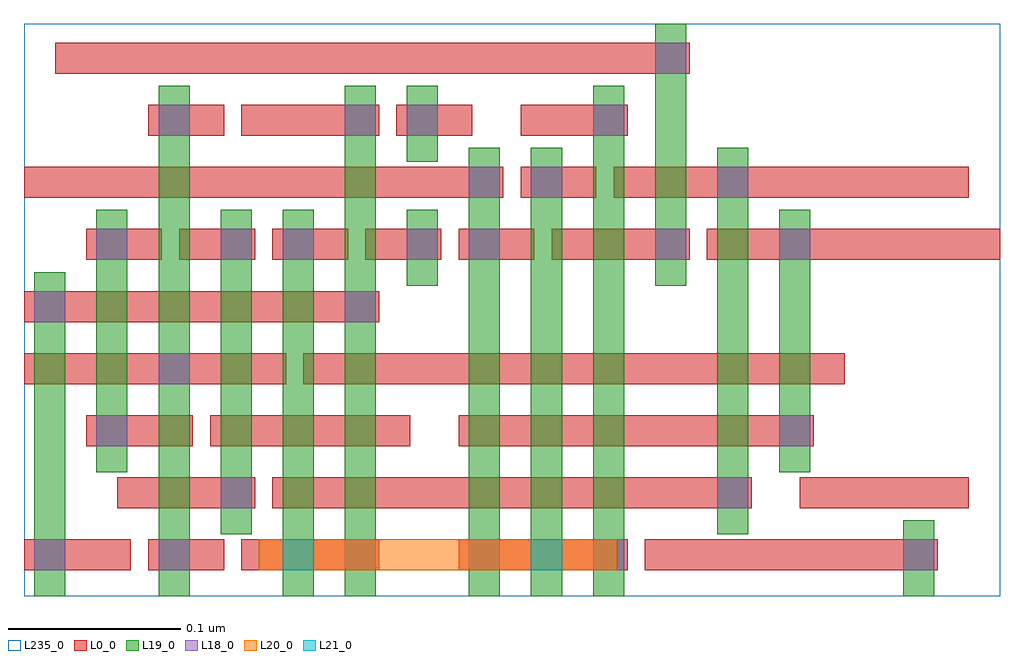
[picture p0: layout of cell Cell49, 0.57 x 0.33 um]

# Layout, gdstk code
import gdstk
lib = gdstk.Library(unit=1e-6, precision=2.5e-10)
def R(c, l, rs):  # rectangles x0, y0, x1, y1
    for r in rs: c.add(gdstk.rectangle(r[:2], r[2:], *l))
def A(c, l, x, y, w, h, nx, ny, dx, dy):  # array of equal rectangles
    R(c, l, [(x+i*dx, y+j*dy, x+i*dx+w, y+j*dy+h) for i in range(nx) for j in range(ny)])
L0_0 = (0, 0)
L18_0 = (18, 0)
L19_0 = (19, 0)
L20_0 = (20, 0)
L21_0 = (21, 0)
L235_0 = (235, 0)

cell49 = lib.new_cell('Cell49')
A(cell49, L0_0, 0.04, 0.179, 0.044, 0.018, 5, 1, 0.054, 0)
R(cell49, L0_0, [(0.004,-0.001,0.066,0.017), (0.076,-0.001,0.12,0.017), (0.13,-0.001,0.21,0.017), (0.256,-0.001,0.354,0.017), (0.364,-0.001,0.534,0.017), (0.058,0.035,0.138,0.053), (0.148,0.035,0.426,0.053), (0.454,0.035,0.552,0.053), (0.04,0.071,0.102,0.089), (0.112,0.071,0.228,0.089), (0.256,0.071,0.462,0.089), (0.004,0.107,0.156,0.125), (0.166,0.107,0.48,0.125), (0.004,0.143,0.21,0.161), (0.31,0.179,0.39,0.197), (0.4,0.179,0.57,0.197), (0.004,0.215,0.282,0.233), (0.292,0.215,0.336,0.233), (0.346,0.215,0.552,0.233), (0.076,0.251,0.12,0.269), (0.13,0.251,0.21,0.269), (0.22,0.251,0.264,0.269), (0.292,0.251,0.354,0.269), (0.022,0.287,0.39,0.305)])
A(cell49, L18_0, 0.19, -0.001, 0.018, 0.018, 3, 1, 0.072, 0)
R(cell49, L18_0, [(0.01,-0.001,0.028,0.017), (0.082,-0.001,0.1,0.017), (0.514,-0.001,0.532,0.017), (0.118,0.035,0.136,0.053), (0.406,0.035,0.424,0.053), (0.046,0.071,0.064,0.089), (0.442,0.071,0.46,0.089), (0.082,0.107,0.1,0.125), (0.01,0.143,0.028,0.161), (0.19,0.143,0.208,0.161), (0.046,0.179,0.064,0.197), (0.118,0.179,0.136,0.197), (0.154,0.179,0.172,0.197), (0.226,0.179,0.244,0.197), (0.262,0.179,0.28,0.197), (0.37,0.179,0.388,0.197), (0.442,0.179,0.46,0.197), (0.262,0.215,0.28,0.233), (0.298,0.215,0.316,0.233), (0.406,0.215,0.424,0.233), (0.082,0.251,0.1,0.269), (0.19,0.251,0.208,0.269), (0.226,0.251,0.244,0.269), (0.334,0.251,0.352,0.269), (0.37,0.287,0.388,0.305)])
R(cell49, L19_0, [(0.01,-0.016,0.028,0.172), (0.082,-0.016,0.1,0.28), (0.154,-0.016,0.172,0.208), (0.19,-0.016,0.208,0.28), (0.262,-0.016,0.28,0.244), (0.298,-0.016,0.316,0.244), (0.334,-0.016,0.352,0.28), (0.514,-0.016,0.532,0.028), (0.118,0.02,0.136,0.208), (0.406,0.02,0.424,0.244), (0.046,0.056,0.064,0.208), (0.442,0.056,0.46,0.208), (0.226,0.164,0.244,0.208), (0.37,0.164,0.388,0.316), (0.226,0.236,0.244,0.28)])
R(cell49, L20_0, [(0.14,-0.001,0.348,0.017)])
R(cell49, L21_0, [(0.154,-0.001,0.172,0.017), (0.298,-0.001,0.316,0.017)])
R(cell49, L235_0, [(0.004,-0.016,0.57,0.316)])

lib.write_gds('Cell49.gds')
